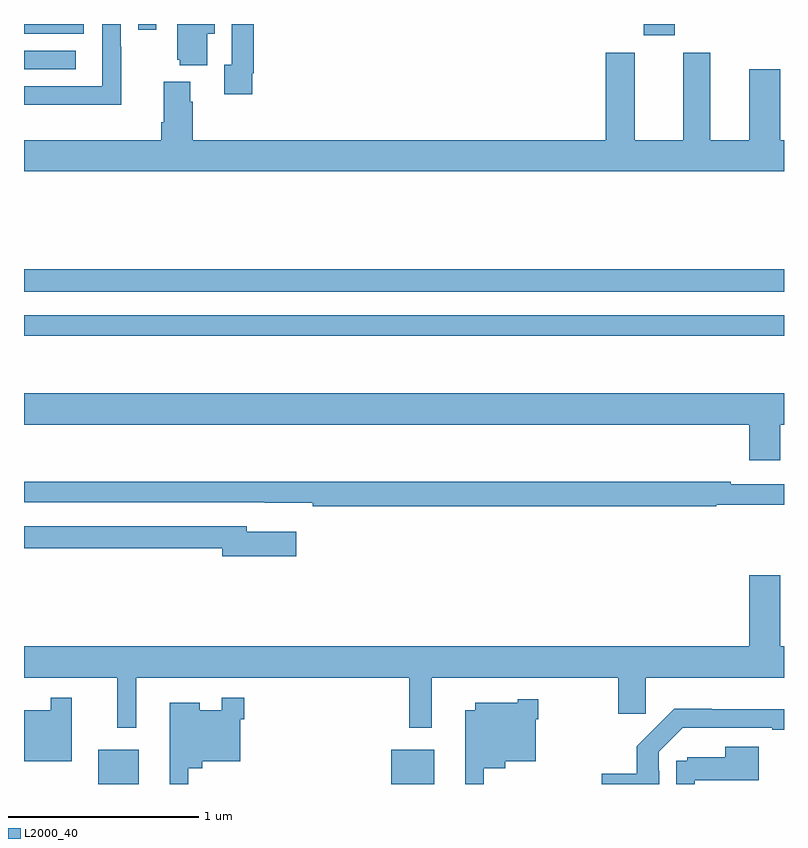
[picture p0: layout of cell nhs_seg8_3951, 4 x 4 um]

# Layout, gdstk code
import gdstk
lib = gdstk.Library(unit=1e-6, precision=1e-09)
def R(c, l, rs):  # rectangles x0, y0, x1, y1
    for r in rs: c.add(gdstk.rectangle(r[:2], r[2:], *l))
def P(c, l, *ps):  # polygons
    for p in ps: c.add(gdstk.Polygon(p, *l))
L2000_40 = (2000, 40)

nhs_seg8_3951 = lib.new_cell('nhs_seg8_3951')
R(nhs_seg8_3951, L2000_40, [(353.39,1155.9,353.605,1156.081), (354.932,1155.9,355.159,1156.081), (353,1158.258,357,1158.366), (353,1158.492,357,1158.608), (353,1159.662,353.272,1159.758), (356.261,1159.842,356.425,1159.9), (353,1159.85,353.314,1159.9), (353.601,1159.869,353.697,1159.9)])
P(nhs_seg8_3951, L2000_40, [(354.202,1159.642),(354.209,1159.642),(354.209,1159.9),(354.093,1159.9),(354.093,1159.686),(354.053,1159.686),(354.053,1159.53),(354.202,1159.53)],
  [(353.965,1159.85),(354.004,1159.85),(354.004,1159.9),(353.807,1159.9),(353.807,1159.713),(353.819,1159.713),(353.819,1159.682),(353.965,1159.682)],
  [(353.511,1159.781),(353.508,1159.781),(353.508,1159.9),(353.412,1159.9),(353.412,1159.826),(353.411,1159.826),(353.411,1159.572),(353,1159.572),(353,1159.476),(353.047,1159.476),(353.047,1159.475),(353.511,1159.475)],
  [(357,1159.288),(356.98,1159.288),(356.98,1159.663),(356.816,1159.663),(356.816,1159.288),(356.611,1159.288),(356.611,1159.75),(356.471,1159.75),(356.471,1159.288),(356.215,1159.288),(356.215,1159.75),(356.063,1159.75),(356.063,1159.288),(353.888,1159.288),(353.888,1159.49),(353.875,1159.49),(353.875,1159.597),(353.735,1159.597),(353.735,1159.384),(353.723,1159.384),(353.723,1159.288),(353,1159.288),(353,1159.124),(357,1159.124)],
  [(356.98,1157.792),(357,1157.792),(357,1157.956),(353,1157.956),(353,1157.792),(356.816,1157.792),(356.816,1157.604),(356.98,1157.604)],
  [(356.644,1157.37),(357,1157.37),(357,1157.478),(356.72,1157.478),(356.72,1157.491),(353,1157.491),(353,1157.382),(354.268,1157.382),(354.268,1157.381),(354.52,1157.381),(354.52,1157.362),(356.644,1157.362)],
  [(354.433,1157.227),(354.172,1157.227),(354.172,1157.256),(353,1157.256),(353,1157.14),(354.044,1157.14),(354.044,1157.098),(354.433,1157.098)],
  [(353.59,1156.46),(355.027,1156.46),(355.027,1156.197),(355.146,1156.197),(355.146,1156.46),(356.128,1156.46),(356.128,1156.269),(356.273,1156.269),(356.273,1156.46),(357,1156.46),(357,1156.624),(356.98,1156.624),(356.98,1156.999),(356.816,1156.999),(356.816,1156.624),(353,1156.624),(353,1156.46),(353.491,1156.46),(353.491,1156.197),(353.59,1156.197)],
  [(353.865,1155.983),(353.939,1155.983),(353.939,1156.019),(354.138,1156.019),(354.138,1156.241),(354.158,1156.241),(354.158,1156.354),(354.042,1156.354),(354.042,1156.288),(353.926,1156.288),(353.926,1156.327),(353.768,1156.327),(353.768,1155.9),(353.865,1155.9)],
  [(353.25,1156.354),(353.142,1156.354),(353.142,1156.288),(353,1156.288),(353,1156.019),(353.25,1156.019)],
  [(355.419,1155.983),(355.534,1155.983),(355.534,1156.019),(355.693,1156.019),(355.693,1156.241),(355.707,1156.241),(355.707,1156.345),(355.599,1156.345),(355.599,1156.327),(355.376,1156.327),(355.376,1156.288),(355.322,1156.288),(355.322,1155.9),(355.419,1155.9)],
  [(356.343,1155.971),(356.34,1155.971),(356.34,1156.071),(356.466,1156.197),(356.939,1156.197),(356.939,1156.185),(357,1156.185),(357,1156.294),(356.621,1156.294),(356.621,1156.297),(356.422,1156.297),(356.225,1156.099),(356.225,1155.955),(356.042,1155.955),(356.042,1155.9),(356.343,1155.9)],
  [(356.529,1155.92),(356.866,1155.92),(356.866,1156.096),(356.69,1156.096),(356.69,1156.042),(356.49,1156.042),(356.49,1156.023),(356.433,1156.023),(356.433,1155.9),(356.529,1155.9)])

lib.write_gds('nhs_seg8_3951.gds')
